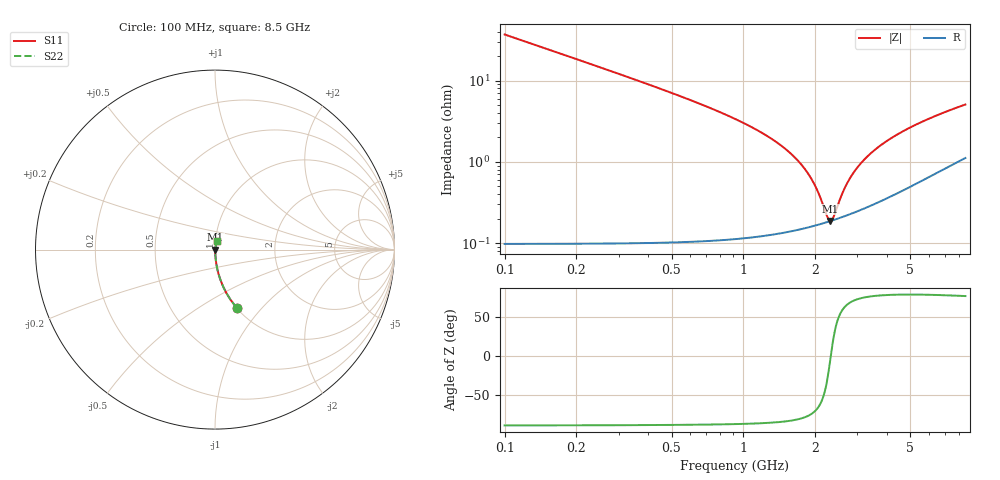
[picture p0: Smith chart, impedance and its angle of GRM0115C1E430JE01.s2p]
!Murata Part Number: GRM0115C1E430JE01
!These Parameters are Measured in Series Mode Connection
!Data Generated on Mar 30, 2021
!  o--ll--o
!Port1  Port2
!  o------o
!Operation Temp=25[degC], DC Bias Voltage=0[V]
!Freq. Start=100[MHz] Stop=9[GHz] 401[Steps]
# Hz S RI R 50
!Freq.(Hz) S11(Real) S11(Imag) S21(Real) S21(Imag) S12(Real) S12(Imag) S22(Real) S22(Imag)
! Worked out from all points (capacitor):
!   401 points, 100 MHz to 8.5 GHz, reference 50 ohm
!   read as one part in series: C = 43 pF near 142 MHz
!   lowest |Z| = 188 mohm at 2.305 GHz (marker M1)
!   series resonance near 2.322 GHz, so ESL is about 110 pH
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1e8  0.1207 -0.3245  0.8793 0.3245  0.8793 0.3245  0.1207 -0.3245
1.84e8  0.0393 -0.1918  0.9607 0.1918  0.9607 0.1918  0.0393 -0.1918
2.68e8  0.0192 -0.1335  0.9808 0.1335  0.9808 0.1335  0.0192 -0.1335
3.73e8  0.0102 -0.0956  0.9898 0.0956  0.9898 0.0956  0.0102 -0.0956
4.99e8  0.00598 -0.0702  0.994 0.0702  0.994 0.0702  0.00598 -0.0702
7.93e8  0.00277 -0.041  0.9972 0.041  0.9972 0.041  0.00277 -0.041
1.507e9  0.00155 -0.0141  0.9984 0.0141  0.9984 0.0141  0.00155 -0.0141
1.738e9  0.00157 -0.0093  0.9984 0.0093  0.9984 0.0093  0.00157 -0.0093
1.906e9  0.00162 -0.00628  0.9984 0.00628  0.9984 0.00628  0.00162 -0.00628
2.053e9  0.00169 -0.0039  0.9983 0.0039  0.9983 0.0039  0.00169 -0.0039
2.242e9  0.00181 -0.0011  0.9982 0.0011  0.9982 0.0011  0.00181 -0.0011
2.305e9  0.00186 -0.000229  0.9981 0.000229  0.9981 0.000229  0.00186 -0.000229
2.389e9  0.00192 0.000899  0.9981 -0.000899  0.9981 -0.000899  0.00192 0.000899
2.557e9  0.00207 0.00304  0.9979 -0.00304  0.9979 -0.00304  0.00207 0.00304
2.662e9  0.00217 0.00431  0.9978 -0.00431  0.9978 -0.00431  0.00217 0.00431
2.914e9  0.00243 0.00719  0.9976 -0.00719  0.9976 -0.00719  0.00243 0.00719
3.166e9  0.00272 0.00986  0.9973 -0.00986  0.9973 -0.00986  0.00272 0.00986
3.481e9  0.00312 0.013  0.9969 -0.013  0.9969 -0.013  0.00312 0.013
4.3e9  0.00435 0.0203  0.9956 -0.0203  0.9956 -0.0203  0.00435 0.0203
5.707e9  0.00697 0.031  0.993 -0.031  0.993 -0.031  0.00697 0.031
7.114e9  0.0101 0.0402  0.9899 -0.0402  0.9899 -0.0402  0.0101 0.0402
8.5e9  0.0134 0.0483  0.9866 -0.0483  0.9866 -0.0483  0.0134 0.0483
